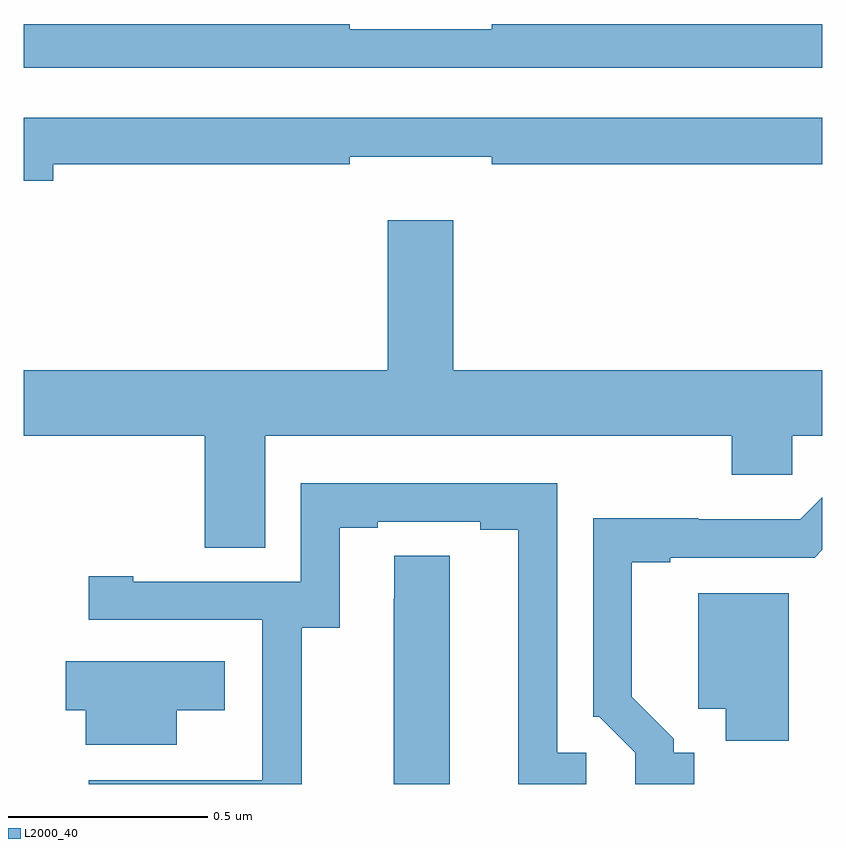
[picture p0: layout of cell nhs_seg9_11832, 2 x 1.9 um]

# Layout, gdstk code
import gdstk
lib = gdstk.Library(unit=1e-6, precision=1e-09)
def P(c, l, *ps):  # polygons
    for p in ps: c.add(gdstk.Polygon(p, *l))
L2000_40 = (2000, 40)

nhs_seg9_11832 = lib.new_cell('nhs_seg9_11832')
P(nhs_seg9_11832, L2000_40, [(262,1245.403),(261.172,1245.403),(261.172,1245.39),(260.816,1245.39),(260.816,1245.403),(260,1245.403),(260,1245.294),(262,1245.294)],
  [(260.074,1245.052),(260.816,1245.052),(260.816,1245.071),(261.172,1245.071),(261.172,1245.052),(262,1245.052),(262,1245.168),(260,1245.168),(260,1245.01),(260.074,1245.01)],
  [(260.605,1244.372),(261.773,1244.372),(261.773,1244.274),(261.924,1244.274),(261.924,1244.372),(262,1244.372),(262,1244.536),(261.076,1244.536),(261.076,1244.911),(260.912,1244.911),(260.912,1244.536),(260,1244.536),(260,1244.372),(260.453,1244.372),(260.453,1244.092),(260.605,1244.092)],
  [(260.697,1243.891),(260.791,1243.891),(260.791,1244.142),(260.887,1244.142),(260.887,1244.157),(261.143,1244.157),(261.143,1244.137),(261.239,1244.137),(261.239,1243.5),(261.409,1243.5),(261.409,1243.578),(261.336,1243.578),(261.336,1244.253),(260.694,1244.253),(260.694,1244.007),(260.275,1244.007),(260.275,1244.02),(260.163,1244.02),(260.163,1243.911),(260.598,1243.911),(260.598,1243.51),(260.597,1243.51),(260.597,1243.509),(260.163,1243.509),(260.163,1243.5),(260.697,1243.5)],
  [(261.679,1243.578),(261.628,1243.578),(261.628,1243.613),(261.523,1243.718),(261.523,1244.055),(261.619,1244.055),(261.619,1244.067),(261.981,1244.067),(262,1244.086),(262,1244.218),(261.945,1244.163),(261.689,1244.163),(261.689,1244.165),(261.426,1244.165),(261.426,1243.668),(261.441,1243.668),(261.531,1243.578),(261.531,1243.5),(261.679,1243.5)],
  [(261.067,1244.072),(260.928,1244.072),(260.928,1243.964),(260.927,1243.964),(260.927,1243.5),(261.067,1243.5)],
  [(261.916,1243.978),(261.689,1243.978),(261.689,1243.688),(261.758,1243.688),(261.758,1243.608),(261.916,1243.608)],
  [(260.383,1243.685),(260.503,1243.685),(260.503,1243.807),(260.106,1243.807),(260.106,1243.685),(260.156,1243.685),(260.156,1243.598),(260.383,1243.598)])

lib.write_gds('nhs_seg9_11832.gds')
